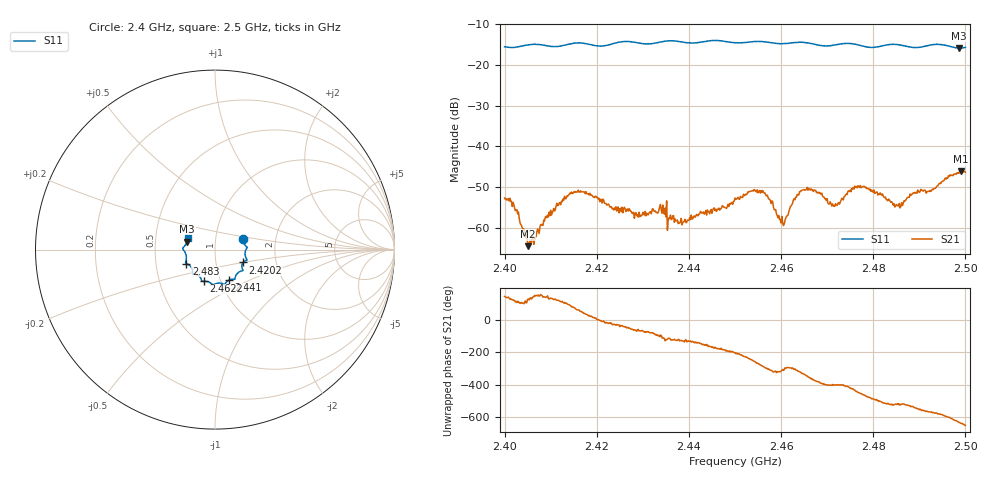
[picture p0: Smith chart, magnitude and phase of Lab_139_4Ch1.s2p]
# Hz S RI R 50
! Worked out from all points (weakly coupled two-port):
!   601 points, 2.4 GHz to 2.5 GHz, reference 50 ohm
!   highest |S21| = -46.11 dB at 2.499 GHz (marker M1); lowest = -64.6 dB at 2.405 GHz (marker M2)
!   lowest |S11| = -15.8 dB at 2.4987 GHz (marker M3), VSWR 1.39, Z = 36.4 + j3.29 ohm
!   |S11| at or under -10 dB: start of sweep to end of sweep
!   S12 and S22 are empty: the file has one direction only
!   S11 on the Smith chart (normalised r, x): 2.4 GHz: 1.36, +0.17; 2.4202 GHz: 1.35, -0.20; 2.441 GHz: 1.09, -0.39; 2.4622 GHz: 0.83, -0.30; 2.483 GHz: 0.72, -0.12; 2.5 GHz: 0.73, +0.09
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2.4e9  0.1564 0.0606  -0.00191 0.0013  0 0  0 0
2.4025e9  0.1634 0.0312  -0.000693 0.00149  0 0  0 0
2.405e9  0.1764 0.0156  -0.000365 0.000466  0 0  0 0
2.414e9  0.1746 -0.0496  -0.00018 0.00255  0 0  0 0
2.416667e9  0.1776 -0.0584  0.00169 0.00217  0 0  0 0
2.420167e9  0.1562 -0.0718  0.00236 9.36e-05  0 0  0 0
2.4285e9  0.148 -0.1185  0.000612 -0.0014  0 0  0 0
2.433333e9  0.1131 -0.1523  -0.00022 -0.00152  0 0  0 0
2.441e9  0.0768 -0.1704  -0.00101 -0.000928  0 0  0 0
2.45e9  0.0267 -0.1863  -0.00212 0.000923  0 0  0 0
2.456167e9  -0.0144 -0.1936  0.000906 0.00258  0 0  0 0
2.460333e9  -0.0461 -0.1775  0.000685 0.000924  0 0  0 0
2.462167e9  -0.063 -0.1765  0.000848 0.00164  0 0  0 0
2.466667e9  -0.0765 -0.1668  0.00289 -0.000135  0 0  0 0
2.4715e9  -0.1105 -0.1371  0.00138 -0.00127  0 0  0 0
2.4765e9  -0.1252 -0.1271  0.00033 -0.00308  0 0  0 0
2.483e9  -0.1591 -0.0781  -0.00208 -0.000737  0 0  0 0
2.483333e9  -0.1607 -0.0774  -0.00211 -0.000762  0 0  0 0
2.485833e9  -0.1629 -0.069  -0.00171 -0.000359  0 0  0 0
2.498667e9  -0.1559 0.0441  0.000457 0.00466  0 0  0 0
2.499e9  -0.1546 0.0488  0.000908 0.00487  0 0  0 0
2.5e9  -0.1528 0.0626  0.00195 0.0044  0 0  0 0
